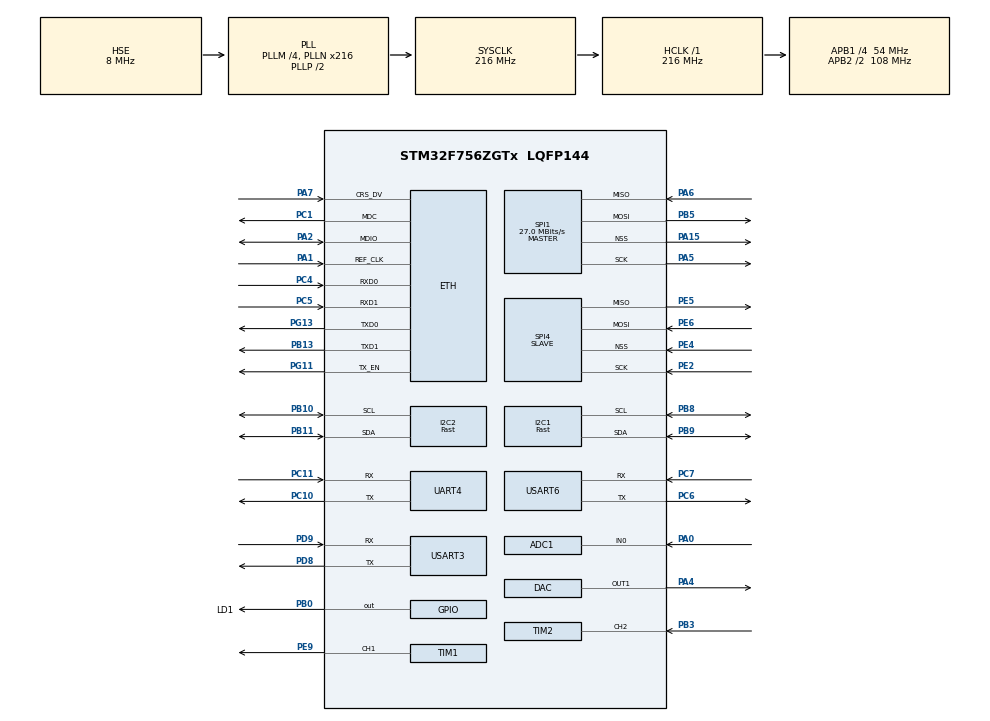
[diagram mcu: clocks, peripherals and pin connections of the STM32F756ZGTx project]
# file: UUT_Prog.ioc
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ADC1.Channel-0\#ChannelRegularConversion=ADC_CHANNEL_0
ADC1.Channel-1\#ChannelRegularConversion=ADC_CHANNEL_VREFINT
ADC1.DMAContinuousRequests=ENABLE
ADC1.NbrOfConversion=2
ADC1.NbrOfConversionFlag=1
ADC1.Rank-0\#ChannelRegularConversion=1
ADC1.Rank-1\#ChannelRegularConversion=2
ADC1.SamplingTime-0\#ChannelRegularConversion=ADC_SAMPLETIME_15CYCLES
ADC1.SamplingTime-1\#ChannelRegularConversion=ADC_SAMPLETIME_15CYCLES
ADC1.master=1
CORTEX_M7.default_mode_Activation=1
DAC.DAC_OutputBuffer=DAC_OUTPUTBUFFER_ENABLE
DAC.DAC_Trigger=DAC_TRIGGER_T6_TRGO
Dma.ADC1.13.Direction=DMA_PERIPH_TO_MEMORY
Dma.ADC1.13.FIFOMode=DMA_FIFOMODE_DISABLE
Dma.ADC1.13.Instance=DMA2_Stream4
Dma.ADC1.13.MemDataAlignment=DMA_MDATAALIGN_HALFWORD
Dma.ADC1.13.MemInc=DMA_MINC_ENABLE
Dma.ADC1.13.Mode=DMA_NORMAL
Dma.ADC1.13.PeriphDataAlignment=DMA_PDATAALIGN_HALFWORD
Dma.ADC1.13.PeriphInc=DMA_PINC_DISABLE
Dma.ADC1.13.Priority=DMA_PRIORITY_LOW
Dma.DAC1.12.Direction=DMA_MEMORY_TO_PERIPH
Dma.DAC1.12.FIFOMode=DMA_FIFOMODE_DISABLE
Dma.DAC1.12.Instance=DMA1_Stream5
Dma.DAC1.12.MemDataAlignment=DMA_MDATAALIGN_HALFWORD
Dma.DAC1.12.MemInc=DMA_MINC_ENABLE
Dma.DAC1.12.Mode=DMA_NORMAL
Dma.DAC1.12.PeriphDataAlignment=DMA_PDATAALIGN_HALFWORD
Dma.DAC1.12.PeriphInc=DMA_PINC_DISABLE
Dma.DAC1.12.Priority=DMA_PRIORITY_LOW
Dma.I2C1_RX.4.Direction=DMA_PERIPH_TO_MEMORY
Dma.I2C1_RX.4.FIFOMode=DMA_FIFOMODE_DISABLE
Dma.I2C1_RX.4.Instance=DMA1_Stream0
Dma.I2C1_RX.4.MemDataAlignment=DMA_MDATAALIGN_BYTE
Dma.I2C1_RX.4.MemInc=DMA_MINC_ENABLE
Dma.I2C1_RX.4.Mode=DMA_NORMAL
Dma.I2C1_RX.4.PeriphDataAlignment=DMA_PDATAALIGN_BYTE
Dma.I2C1_RX.4.PeriphInc=DMA_PINC_DISABLE
Dma.I2C1_RX.4.Priority=DMA_PRIORITY_LOW
Dma.I2C1_TX.5.Direction=DMA_MEMORY_TO_PERIPH
Dma.I2C1_TX.5.FIFOMode=DMA_FIFOMODE_DISABLE
Dma.I2C1_TX.5.Instance=DMA1_Stream6
Dma.I2C1_TX.5.MemDataAlignment=DMA_MDATAALIGN_BYTE
Dma.I2C1_TX.5.MemInc=DMA_MINC_ENABLE
Dma.I2C1_TX.5.Mode=DMA_NORMAL
Dma.I2C1_TX.5.PeriphDataAlignment=DMA_PDATAALIGN_BYTE
Dma.I2C1_TX.5.PeriphInc=DMA_PINC_DISABLE
Dma.I2C1_TX.5.Priority=DMA_PRIORITY_LOW
Dma.I2C2_RX.10.Direction=DMA_PERIPH_TO_MEMORY
Dma.I2C2_RX.10.FIFOMode=DMA_FIFOMODE_DISABLE
Dma.I2C2_RX.10.Instance=DMA1_Stream3
Dma.I2C2_RX.10.MemDataAlignment=DMA_MDATAALIGN_BYTE
Dma.I2C2_RX.10.MemInc=DMA_MINC_ENABLE
Dma.I2C2_RX.10.Mode=DMA_NORMAL
Dma.I2C2_RX.10.PeriphDataAlignment=DMA_PDATAALIGN_BYTE
Dma.I2C2_RX.10.PeriphInc=DMA_PINC_DISABLE
Dma.I2C2_RX.10.Priority=DMA_PRIORITY_LOW
Dma.I2C2_TX.11.Direction=DMA_MEMORY_TO_PERIPH
Dma.I2C2_TX.11.FIFOMode=DMA_FIFOMODE_DISABLE
Dma.I2C2_TX.11.Instance=DMA1_Stream7
Dma.I2C2_TX.11.MemDataAlignment=DMA_MDATAALIGN_BYTE
Dma.I2C2_TX.11.MemInc=DMA_MINC_ENABLE
Dma.I2C2_TX.11.Mode=DMA_NORMAL
Dma.I2C2_TX.11.PeriphDataAlignment=DMA_PDATAALIGN_BYTE
Dma.I2C2_TX.11.PeriphInc=DMA_PINC_DISABLE
Dma.I2C2_TX.11.Priority=DMA_PRIORITY_LOW
Dma.Request0=SPI1_TX
Dma.Request1=SPI1_RX
Dma.Request10=I2C2_RX
Dma.Request11=I2C2_TX
Dma.Request12=DAC1
Dma.Request13=ADC1
Dma.Request2=USART6_RX
Dma.Request3=USART6_TX
Dma.Request4=I2C1_RX
Dma.Request5=I2C1_TX
Dma.Request6=SPI4_RX
Dma.Request7=SPI4_TX
Dma.Request8=UART4_RX
Dma.Request9=UART4_TX
Dma.SPI1_RX.1.Direction=DMA_PERIPH_TO_MEMORY
Dma.SPI1_RX.1.FIFOMode=DMA_FIFOMODE_DISABLE
Dma.SPI1_RX.1.Instance=DMA2_Stream0
Dma.SPI1_RX.1.MemDataAlignment=DMA_MDATAALIGN_BYTE
Dma.SPI1_RX.1.MemInc=DMA_MINC_ENABLE
Dma.SPI1_RX.1.Mode=DMA_NORMAL
Dma.SPI1_RX.1.PeriphDataAlignment=DMA_PDATAALIGN_BYTE
Dma.SPI1_RX.1.PeriphInc=DMA_PINC_DISABLE
Dma.SPI1_RX.1.Priority=DMA_PRIORITY_LOW
Dma.SPI1_TX.0.Direction=DMA_MEMORY_TO_PERIPH
Dma.SPI1_TX.0.FIFOMode=DMA_FIFOMODE_DISABLE
Dma.SPI1_TX.0.Instance=DMA2_Stream5
Dma.SPI1_TX.0.MemDataAlignment=DMA_MDATAALIGN_BYTE
Dma.SPI1_TX.0.MemInc=DMA_MINC_ENABLE
Dma.SPI1_TX.0.Mode=DMA_NORMAL
Dma.SPI1_TX.0.PeriphDataAlignment=DMA_PDATAALIGN_BYTE
Dma.SPI1_TX.0.PeriphInc=DMA_PINC_DISABLE
Dma.SPI1_TX.0.Priority=DMA_PRIORITY_LOW
Dma.SPI4_RX.6.Direction=DMA_PERIPH_TO_MEMORY
Dma.SPI4_RX.6.FIFOMode=DMA_FIFOMODE_DISABLE
Dma.SPI4_RX.6.Instance=DMA2_Stream3
Dma.SPI4_RX.6.MemDataAlignment=DMA_MDATAALIGN_BYTE
Dma.SPI4_RX.6.MemInc=DMA_MINC_ENABLE
Dma.SPI4_RX.6.Mode=DMA_NORMAL
Dma.SPI4_RX.6.PeriphDataAlignment=DMA_PDATAALIGN_BYTE
Dma.SPI4_RX.6.PeriphInc=DMA_PINC_DISABLE
Dma.SPI4_RX.6.Priority=DMA_PRIORITY_LOW
Dma.SPI4_TX.7.Direction=DMA_MEMORY_TO_PERIPH
Dma.SPI4_TX.7.FIFOMode=DMA_FIFOMODE_DISABLE
Dma.SPI4_TX.7.Instance=DMA2_Stream1
Dma.SPI4_TX.7.MemDataAlignment=DMA_MDATAALIGN_BYTE
Dma.SPI4_TX.7.MemInc=DMA_MINC_ENABLE
Dma.SPI4_TX.7.Mode=DMA_NORMAL
Dma.SPI4_TX.7.PeriphDataAlignment=DMA_PDATAALIGN_BYTE
Dma.SPI4_TX.7.PeriphInc=DMA_PINC_DISABLE
Dma.SPI4_TX.7.Priority=DMA_PRIORITY_LOW
Dma.UART4_RX.8.Direction=DMA_PERIPH_TO_MEMORY
Dma.UART4_RX.8.FIFOMode=DMA_FIFOMODE_DISABLE
Dma.UART4_RX.8.Instance=DMA1_Stream2
Dma.UART4_RX.8.MemDataAlignment=DMA_MDATAALIGN_BYTE
Dma.UART4_RX.8.MemInc=DMA_MINC_ENABLE
Dma.UART4_RX.8.Mode=DMA_NORMAL
Dma.UART4_RX.8.PeriphDataAlignment=DMA_PDATAALIGN_BYTE
Dma.UART4_RX.8.PeriphInc=DMA_PINC_DISABLE
Dma.UART4_RX.8.Priority=DMA_PRIORITY_LOW
Dma.UART4_TX.9.Direction=DMA_MEMORY_TO_PERIPH
Dma.UART4_TX.9.FIFOMode=DMA_FIFOMODE_DISABLE
Dma.UART4_TX.9.Instance=DMA1_Stream4
Dma.UART4_TX.9.MemDataAlignment=DMA_MDATAALIGN_BYTE
Dma.UART4_TX.9.MemInc=DMA_MINC_ENABLE
Dma.UART4_TX.9.Mode=DMA_NORMAL
Dma.UART4_TX.9.PeriphDataAlignment=DMA_PDATAALIGN_BYTE
Dma.UART4_TX.9.PeriphInc=DMA_PINC_DISABLE
Dma.UART4_TX.9.Priority=DMA_PRIORITY_LOW
Dma.USART6_RX.2.Direction=DMA_PERIPH_TO_MEMORY
Dma.USART6_RX.2.FIFOMode=DMA_FIFOMODE_DISABLE
Dma.USART6_RX.2.Instance=DMA2_Stream2
Dma.USART6_RX.2.MemDataAlignment=DMA_MDATAALIGN_BYTE
Dma.USART6_RX.2.MemInc=DMA_MINC_ENABLE
Dma.USART6_RX.2.Mode=DMA_NORMAL
Dma.USART6_RX.2.PeriphDataAlignment=DMA_PDATAALIGN_BYTE
Dma.USART6_RX.2.PeriphInc=DMA_PINC_DISABLE
Dma.USART6_RX.2.Priority=DMA_PRIORITY_LOW
Dma.USART6_TX.3.Direction=DMA_MEMORY_TO_PERIPH
Dma.USART6_TX.3.FIFOMode=DMA_FIFOMODE_DISABLE
Dma.USART6_TX.3.Instance=DMA2_Stream6
Dma.USART6_TX.3.MemDataAlignment=DMA_MDATAALIGN_BYTE
Dma.USART6_TX.3.MemInc=DMA_MINC_ENABLE
Dma.USART6_TX.3.Mode=DMA_NORMAL
Dma.USART6_TX.3.PeriphDataAlignment=DMA_PDATAALIGN_BYTE
Dma.USART6_TX.3.PeriphInc=DMA_PINC_DISABLE
Dma.USART6_TX.3.Priority=DMA_PRIORITY_LOW
ETH.MediaInterface=HAL_ETH_RMII_MODE
FREERTOS.Tasks01=defaultTask,0,512,StartDefaultTask,Default,NULL,Dynamic,NULL,NULL
FREERTOS.configENABLE_FPU=1
FREERTOS.configTOTAL_HEAP_SIZE=0x8000
FREERTOS.configUSE_NEWLIB_REENTRANT=1
I2C1.I2C_Speed_Mode=I2C_Fast
I2C1.OwnAddress=0x55
I2C1.Timing=0x6000030D
I2C2.I2C_Speed_Mode=I2C_Fast
I2C2.OwnAddress=0x55
I2C2.Timing=0x6000030D
LWIP.BSP.number=1
LWIP.DHCP_DEBUG=LWIP_DBG_ON
LWIP.ETHARP_DEBUG=LWIP_DBG_OFF
LWIP.GATEWAY_ADDRESS=010.000.001.101
LWIP.ICMP_DEBUG=LWIP_DBG_ON
LWIP.IP_ADDRESS=010.000.001.100
LWIP.IP_DEBUG=LWIP_DBG_ON
LWIP.LWIP_DBG_MIN_LEVEL=LWIP_DBG_LEVEL_ALL
LWIP.LWIP_DHCP=1
LWIP.LWIP_NETIF_HOSTNAME=1
LWIP.LWIP_NETIF_HOSTNAME_NAME=STM32-Device
LWIP.NETIF_DEBUG=LWIP_DBG_ON
LWIP.NETMASK_ADDRESS=255.255.255.000
LWIP.PBUF_DEBUG=LWIP_DBG_OFF
LWIP.TCP_DEBUG=LWIP_DBG_ON
LWIP.UDP_DEBUG=LWIP_DBG_ON
LWIP.Version=v2.1.2_Cube
LWIP0.BSP.STBoard=false
LWIP0.BSP.api=BSP_COMPONENT_DRIVER
LWIP0.BSP.component=LAN8742
LWIP0.BSP.instance=LAN8742
LWIP0.BSP.name=Driver_PHY
LWIP0.BSP.semaphore=S_LAN8742
LWIP0.BSP.solution=LAN8742
Mcu.Family=STM32F7
Mcu.Name=STM32F756ZGTx
Mcu.Package=LQFP144
NVIC.ADC_IRQn=true\:5\:0\:false\:false\:true\:true\:true\:true\:true
NVIC.DMA1_Stream0_IRQn=true\:5\:0\:false\:false\:true\:false\:false\:true\:true
NVIC.DMA1_Stream2_IRQn=true\:5\:0\:false\:false\:true\:true\:false\:true\:true
NVIC.DMA1_Stream3_IRQn=true\:5\:0\:false\:false\:true\:true\:false\:true\:true
NVIC.DMA1_Stream4_IRQn=true\:5\:0\:false\:false\:true\:true\:false\:true\:true
NVIC.DMA1_Stream5_IRQn=true\:5\:0\:false\:false\:true\:true\:false\:true\:true
NVIC.DMA1_Stream6_IRQn=true\:5\:0\:false\:false\:true\:false\:false\:true\:true
NVIC.DMA1_Stream7_IRQn=true\:5\:0\:false\:false\:true\:true\:false\:true\:true
NVIC.DMA2_Stream0_IRQn=true\:5\:0\:false\:false\:true\:true\:false\:true\:true
NVIC.DMA2_Stream1_IRQn=true\:5\:0\:false\:false\:true\:true\:false\:true\:true
NVIC.DMA2_Stream2_IRQn=true\:5\:0\:false\:false\:true\:false\:false\:true\:true
NVIC.DMA2_Stream3_IRQn=true\:5\:0\:false\:false\:true\:true\:false\:true\:true
NVIC.DMA2_Stream4_IRQn=true\:5\:0\:false\:false\:true\:true\:false\:true\:true
NVIC.DMA2_Stream5_IRQn=true\:5\:0\:false\:false\:true\:false\:false\:true\:true
NVIC.DMA2_Stream6_IRQn=true\:5\:0\:false\:false\:true\:true\:false\:true\:true
NVIC.ETH_IRQn=true\:5\:0\:false\:false\:true\:true\:true\:true\:true
NVIC.I2C1_ER_IRQn=true\:5\:0\:false\:false\:true\:true\:true\:true\:true
NVIC.I2C1_EV_IRQn=true\:5\:0\:false\:false\:true\:true\:true\:true\:true
NVIC.I2C2_ER_IRQn=true\:5\:0\:false\:false\:true\:true\:true\:true\:true
NVIC.I2C2_EV_IRQn=true\:5\:0\:false\:false\:true\:true\:true\:true\:true
NVIC.PriorityGroup=NVIC_PRIORITYGROUP_4
NVIC.SPI1_IRQn=true\:5\:0\:false\:false\:true\:true\:true\:true\:true
NVIC.SPI4_IRQn=true\:5\:0\:false\:false\:true\:true\:true\:true\:true
NVIC.TIM2_IRQn=true\:5\:0\:false\:false\:true\:true\:true\:true\:true
NVIC.TIM6_DAC_IRQn=true\:5\:0\:false\:false\:true\:false\:false\:true\:true
NVIC.TIM7_IRQn=true\:15\:0\:false\:false\:true\:false\:false\:true\:true
NVIC.TimeBase=TIM7_IRQn
NVIC.TimeBaseIP=TIM7
NVIC.UART4_IRQn=true\:5\:0\:false\:false\:true\:true\:true\:true\:true
NVIC.USART6_IRQn=true\:5\:0\:false\:false\:true\:true\:true\:true\:true
PA0/WKUP.Signal=ADCx_IN0
PA1.Mode=RMII
PA1.Signal=ETH_REF_CLK
PA13.Mode=Serial_Wire
PA13.Signal=SYS_JTMS-SWDIO
PA14.Mode=Serial_Wire
PA14.Signal=SYS_JTCK-SWCLK
PA15.Mode=NSS_Signal_Hard_Output
PA15.Signal=SPI1_NSS
PA2.Mode=RMII
PA2.Signal=ETH_MDIO
PA4.Signal=COMP_DAC1_group
PA5.Mode=Full_Duplex_Master
PA5.Signal=SPI1_SCK
PA6.Mode=Full_Duplex_Master
PA6.Signal=SPI1_MISO
PA7.Mode=RMII
PA7.Signal=ETH_CRS_DV
PB0.GPIO_Label=LD1
PB0.Signal=GPIO_Output
PB10.GPIO_Pu=GPIO_PULLUP
PB10.Mode=I2C
PB10.Signal=I2C2_SCL
PB11.GPIO_Pu=GPIO_PULLUP
PB11.Mode=I2C
PB11.Signal=I2C2_SDA
PB13.Mode=RMII
PB13.Signal=ETH_TXD1
PB3.Signal=S_TIM2_CH2
PB5.Mode=Full_Duplex_Master
PB5.Signal=SPI1_MOSI
PB8.GPIO_Pu=GPIO_PULLUP
PB8.Mode=I2C
PB8.Signal=I2C1_SCL
PB9.GPIO_Pu=GPIO_PULLUP
PB9.Mode=I2C
PB9.Signal=I2C1_SDA
PC1.Mode=RMII
PC1.Signal=ETH_MDC
PC10.Mode=Asynchronous
PC10.Signal=UART4_TX
PC11.Mode=Asynchronous
PC11.Signal=UART4_RX
PC14/OSC32_IN.Mode=LSE-External-Oscillator
PC14/OSC32_IN.Signal=RCC_OSC32_IN
PC15/OSC32_OUT.Mode=LSE-External-Oscillator
PC15/OSC32_OUT.Signal=RCC_OSC32_OUT
PC4.Mode=RMII
PC4.Signal=ETH_RXD0
PC5.Mode=RMII
PC5.Signal=ETH_RXD1
PC6.Mode=Asynchronous
PC6.Signal=USART6_TX
PC7.Mode=Asynchronous
PC7.Signal=USART6_RX
PD8.Mode=Asynchronous
PD8.Signal=USART3_TX
PD9.Mode=Asynchronous
PD9.Signal=USART3_RX
PE2.Mode=Full_Duplex_Slave
PE2.Signal=SPI4_SCK
PE4.Mode=NSS_Signal_Hard_Input
PE4.Signal=SPI4_NSS
PE5.Mode=Full_Duplex_Slave
PE5.Signal=SPI4_MISO
PE6.Mode=Full_Duplex_Slave
PE6.Signal=SPI4_MOSI
PE9.Signal=S_TIM1_CH1
PG11.Mode=RMII
PG11.Signal=ETH_TX_EN
PG13.Mode=RMII
PG13.Signal=ETH_TXD0
PH0/OSC_IN.Mode=HSE-External-Clock-Source
PH0/OSC_IN.Signal=RCC_OSC_IN
PH1/OSC_OUT.Mode=HSE-External-Clock-Source
PH1/OSC_OUT.Signal=RCC_OSC_OUT
ProjectManager.HeapSize=0x200
ProjectManager.StackSize=0x400
ProjectManager.TargetToolchain=STM32CubeIDE
RCC.AHBFreq_Value=216000000
RCC.APB1CLKDivider=RCC_HCLK_DIV4
RCC.APB1Freq_Value=54000000
RCC.APB1TimFreq_Value=108000000
RCC.APB2CLKDivider=RCC_HCLK_DIV2
RCC.APB2Freq_Value=108000000
RCC.APB2TimFreq_Value=216000000
RCC.CortexFreq_Value=216000000
RCC.HCLKFreq_Value=216000000
RCC.HSE_VALUE=8000000
RCC.HSI_VALUE=16000000
RCC.PLLM=4
RCC.PLLN=216
RCC.PLLSourceVirtual=RCC_PLLSOURCE_HSE
RCC.SYSCLKFreq_VALUE=216000000
RCC.SYSCLKSource=RCC_SYSCLKSOURCE_PLLCLK
RCC.USBFreq_Value=216000000
RCC.VCOOutputFreq_Value=432000000
SH.ADCx_IN0.0=ADC1_IN0,IN0
SH.COMP_DAC1_group.0=DAC_OUT1,DAC_OUT1
SH.S_TIM1_CH1.0=TIM1_CH1,PWM Generation1 CH1
SH.S_TIM2_CH2.0=TIM2_CH2,Input_Capture2_from_TI2
SPI1.BaudRatePrescaler=SPI_BAUDRATEPRESCALER_4
SPI1.CalculateBaudRate=27.0 MBits/s
SPI1.DataSize=SPI_DATASIZE_8BIT
SPI1.Direction=SPI_DIRECTION_2LINES
SPI1.Mode=SPI_MODE_MASTER
SPI1.VirtualNSS=VM_NSSHARD
SPI1.VirtualType=VM_MASTER
SPI4.DataSize=SPI_DATASIZE_8BIT
SPI4.Direction=SPI_DIRECTION_2LINES
SPI4.Mode=SPI_MODE_SLAVE
SPI4.VirtualNSS=VM_NSSHARD
SPI4.VirtualType=VM_SLAVE
TIM1.AutoReloadPreload=TIM_AUTORELOAD_PRELOAD_ENABLE
TIM1.Channel-PWM\ Generation1\ CH1=TIM_CHANNEL_1
TIM1.ClockDivision=TIM_CLOCKDIVISION_DIV1
TIM1.OCFastMode_PWM-PWM\ Generation1\ CH1=TIM_OCFAST_ENABLE
TIM1.Period=999
TIM1.Prescaler=215
TIM1.Pulse-PWM\ Generation1\ CH1=500
TIM2.Channel-Input_Capture2_from_TI2=TIM_CHANNEL_2
TIM2.Prescaler=107
TIM6.AutoReloadPreload=TIM_AUTORELOAD_PRELOAD_ENABLE
TIM6.Period=135
TIM6.Prescaler=3
TIM6.TIM_MasterOutputTrigger=TIM_TRGO_UPDATE
USART3.VirtualMode-Asynchronous=VM_ASYNC
USART6.VirtualMode-Asynchronous=VM_ASYNC
VP_ADC1_Vref_Input.Mode=IN-Vrefint
VP_CRC_VS_CRC.Mode=CRC_Activate
VP_FREERTOS_VS_CMSIS_V1.Mode=CMSIS_V1
VP_LWIP_VS_Enabled.Mode=Enabled
VP_SYS_VS_tim7.Mode=TIM7
VP_TIM1_VS_ClockSourceINT.Mode=Internal
VP_TIM2_VS_ClockSourceINT.Mode=Internal
VP_TIM6_VS_ClockSourceINT.Mode=Enable_Timer
board=custom

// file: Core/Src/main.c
/* USER CODE BEGIN Header */
/**
  ******************************************************************************
  * @file           : main.c
  * @brief          : Main program body
  ******************************************************************************
  * @attention
  *
  * Copyright (c) 2026 STMicroelectronics.
  * All rights reserved.
  *
  * This software is licensed under terms that can be found in the LICENSE file
  * in the root directory of this software component.
  * If no LICENSE file comes with this software, it is provided AS-IS.
  *
  ******************************************************************************
  */
/* USER CODE END Header */
#include "main.h"
#include "cmsis_os.h"
#include "adc.h"
#include "crc.h"
#include "dac.h"
#include "dma.h"
#include "i2c.h"
#include "lwip.h"
#include "spi.h"
#include "tim.h"
#include "usart.h"
#include "gpio.h"

/* USER CODE BEGIN Includes */
#include "CommonData.h"
#include "SystemLib.h"
/* USER CODE END Includes */

void SystemClock_Config(void);
static void MPU_Config(void);
void MX_FREERTOS_Init(void);

int main(void)
{

  /* USER CODE BEGIN 1 */
  AdjustIntVectTable();  /* Adjusting the vector table to beginning of the program. Its necessary in case the program is used with bootloader and starts not from beginning of the flash. */
  /* USER CODE END 1 */

  /* MPU Configuration--------------------------------------------------------*/
  MPU_Config();

  /* MCU Configuration--------------------------------------------------------*/

  /* Reset of all peripherals, Initializes the Flash interface and the Systick. */
  HAL_Init();

  /* Configure the system clock */
  SystemClock_Config();

  /* Initialize all configured peripherals */
  MX_GPIO_Init();
  MX_DMA_Init();
  MX_USART3_UART_Init();
  MX_ADC1_Init();
  MX_DAC_Init();
  MX_SPI1_Init();
  MX_TIM1_Init();
  MX_I2C1_Init();
  MX_USART6_UART_Init();
  MX_UART4_Init();
  MX_SPI4_Init();
  MX_I2C2_Init();
  MX_TIM6_Init();
  MX_TIM2_Init();
  MX_CRC_Init();
  /* USER CODE BEGIN 2 */
#ifdef DEBUG
  __HAL_DBGMCU_FREEZE_TIM6();  // Prevents jumping to the timer handler during stepping in debugging.
  __HAL_DBGMCU_FREEZE_TIM7();  // Prevents jumping to the timer handler during stepping in debugging.
  __HAL_DBGMCU_FREEZE_TIM1();  // Prevents jumping to the timer handler during stepping in debugging.
  __HAL_DBGMCU_FREEZE_TIM2();  // Prevents jumping to the timer handler during stepping in debugging.
  //__HAL_FREEZE_ETH_DBGMCU();   // Prevents jumping to the timer handler during stepping in debugging.
#endif

  HAL_TIM_Base_Start(&htim6);

  /* USER CODE END 2 */

  /* Call init function for freertos objects (in cmsis_os2.c) */
  MX_FREERTOS_Init();

  /* Start scheduler */
  osKernelStart();

  /* We should never get here as control is now taken by the scheduler */

  /* Infinite loop */
  while (1)
  {

  }
}

void SystemClock_Config(void)
{
  RCC_OscInitTypeDef RCC_OscInitStruct = {0};
  RCC_ClkInitTypeDef RCC_ClkInitStruct = {0};

  /** Configure LSE Drive Capability
  */
  HAL_PWR_EnableBkUpAccess();

  /** Configure the main internal regulator output voltage
  */
  __HAL_RCC_PWR_CLK_ENABLE();
  __HAL_PWR_VOLTAGESCALING_CONFIG(PWR_REGULATOR_VOLTAGE_SCALE1);

  /** Initializes the RCC Oscillators according to the specified parameters
  * in the RCC_OscInitTypeDef structure.
  */
  RCC_OscInitStruct.OscillatorType = RCC_OSCILLATORTYPE_HSE;
  RCC_OscInitStruct.HSEState = RCC_HSE_BYPASS;
  RCC_OscInitStruct.PLL.PLLState = RCC_PLL_ON;
  RCC_OscInitStruct.PLL.PLLSource = RCC_PLLSOURCE_HSE;
  RCC_OscInitStruct.PLL.PLLM = 4;
  RCC_OscInitStruct.PLL.PLLN = 216;
  RCC_OscInitStruct.PLL.PLLP = RCC_PLLP_DIV2;
  RCC_OscInitStruct.PLL.PLLQ = 2;
  if (HAL_RCC_OscConfig(&RCC_OscInitStruct) != HAL_OK)
  {
    Error_Handler();
  }

  /** Activate the Over-Drive mode
  */
  if (HAL_PWREx_EnableOverDrive() != HAL_OK)
  {
    Error_Handler();
  }

  /** Initializes the CPU, AHB and APB buses clocks
  */
  RCC_ClkInitStruct.ClockType = RCC_CLOCKTYPE_HCLK|RCC_CLOCKTYPE_SYSCLK
                              |RCC_CLOCKTYPE_PCLK1|RCC_CLOCKTYPE_PCLK2;
  RCC_ClkInitStruct.SYSCLKSource = RCC_SYSCLKSOURCE_PLLCLK;
  RCC_ClkInitStruct.AHBCLKDivider = RCC_SYSCLK_DIV1;
  RCC_ClkInitStruct.APB1CLKDivider = RCC_HCLK_DIV4;
  RCC_ClkInitStruct.APB2CLKDivider = RCC_HCLK_DIV2;

  if (HAL_RCC_ClockConfig(&RCC_ClkInitStruct, FLASH_LATENCY_7) != HAL_OK)
  {
    Error_Handler();
  }
}

 /* MPU Configuration */

void /*__attribute__((optimize("Og")))*/ MPU_Config(void)
{
  MPU_Region_InitTypeDef MPU_InitStruct = {0};

  /* Disables the MPU */
  HAL_MPU_Disable();

  /** Initializes and configures the Region and the memory to be protected
  */
  MPU_InitStruct.Enable = MPU_REGION_ENABLE;
  MPU_InitStruct.Number = MPU_REGION_NUMBER0;
  MPU_InitStruct.BaseAddress = 0x0;
  MPU_InitStruct.Size = MPU_REGION_SIZE_4GB;
  MPU_InitStruct.SubRegionDisable = 0x87;
  MPU_InitStruct.TypeExtField = MPU_TEX_LEVEL0;
  MPU_InitStruct.AccessPermission = MPU_REGION_NO_ACCESS;
  MPU_InitStruct.DisableExec = MPU_INSTRUCTION_ACCESS_DISABLE;
  MPU_InitStruct.IsShareable = MPU_ACCESS_SHAREABLE;
  MPU_InitStruct.IsCacheable = MPU_ACCESS_NOT_CACHEABLE;
  MPU_InitStruct.IsBufferable = MPU_ACCESS_NOT_BUFFERABLE;

  HAL_MPU_ConfigRegion(&MPU_InitStruct);
  /* Enables the MPU */
  HAL_MPU_Enable(MPU_PRIVILEGED_DEFAULT);

}

void HAL_TIM_PeriodElapsedCallback(TIM_HandleTypeDef *htim)
{
  if (htim->Instance == TIM7)
  {
    HAL_IncTick();
  }
}

void Error_Handler(void)
{
  __disable_irq();
  while (1)
  {
  }
}

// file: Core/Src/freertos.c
/* USER CODE BEGIN Header */
/**
  ******************************************************************************
  * File Name          : freertos.c
  * Description        : Code for freertos applications
  ******************************************************************************
  * @attention
  *
  * Copyright (c) 2026 STMicroelectronics.
  * All rights reserved.
  *
  * This software is licensed under terms that can be found in the LICENSE file
  * in the root directory of this software component.
  * If no LICENSE file comes with this software, it is provided AS-IS.
  *
  ******************************************************************************
  */
/* USER CODE END Header */

#include "FreeRTOS.h"
#include "task.h"
#include "main.h"
#include "cmsis_os.h"

/* USER CODE BEGIN Includes */
#include "netif.h"
#include "CommonData.h"
#include "Network.h"
#include "Tester.h"
#include "SystemLib.h"
/* USER CODE END Includes */

osThreadId defaultTaskHandle;

void StartDefaultTask(void const * argument);

extern void MX_LWIP_Init(void);
void MX_FREERTOS_Init(void); /* (MISRA C 2004 rule 8.1) */

/* GetIdleTaskMemory prototype (linked to static allocation support) */
void vApplicationGetIdleTaskMemory( StaticTask_t **ppxIdleTaskTCBBuffer, StackType_t **ppxIdleTaskStackBuffer, uint32_t *pulIdleTaskStackSize );

/* USER CODE BEGIN GET_IDLE_TASK_MEMORY */
static StaticTask_t xIdleTaskTCBBuffer;
static StackType_t xIdleStack[configMINIMAL_STACK_SIZE];

void vApplicationGetIdleTaskMemory( StaticTask_t **ppxIdleTaskTCBBuffer, StackType_t **ppxIdleTaskStackBuffer, uint32_t *pulIdleTaskStackSize )
{
  *ppxIdleTaskTCBBuffer = &xIdleTaskTCBBuffer;
  *ppxIdleTaskStackBuffer = &xIdleStack[0];
  *pulIdleTaskStackSize = configMINIMAL_STACK_SIZE;
  /* place for user code */
}
/* USER CODE END GET_IDLE_TASK_MEMORY */

void MX_FREERTOS_Init(void) {
  /* USER CODE BEGIN Init */
	InitRTPrintf();
  /* USER CODE END Init */

  /* Create the thread(s) */
  /* definition and creation of defaultTask */
  osThreadDef(defaultTask, StartDefaultTask, osPriorityNormal, 0, 512);
  defaultTaskHandle = osThreadCreate(osThread(defaultTask), NULL);

}

void StartDefaultTask(void const * argument)
{
  /* init code for LWIP */
  MX_LWIP_Init();
  /* USER CODE BEGIN StartDefaultTask */
  extern struct netif gnetif;
  netif_set_hostname(&gnetif, HOST_NAME);
  NetworkInit();
  TesterInit();

  /* Infinite loop */
  for(;;)
  {
    osDelay(1);
  }
  /* USER CODE END StartDefaultTask */
}
